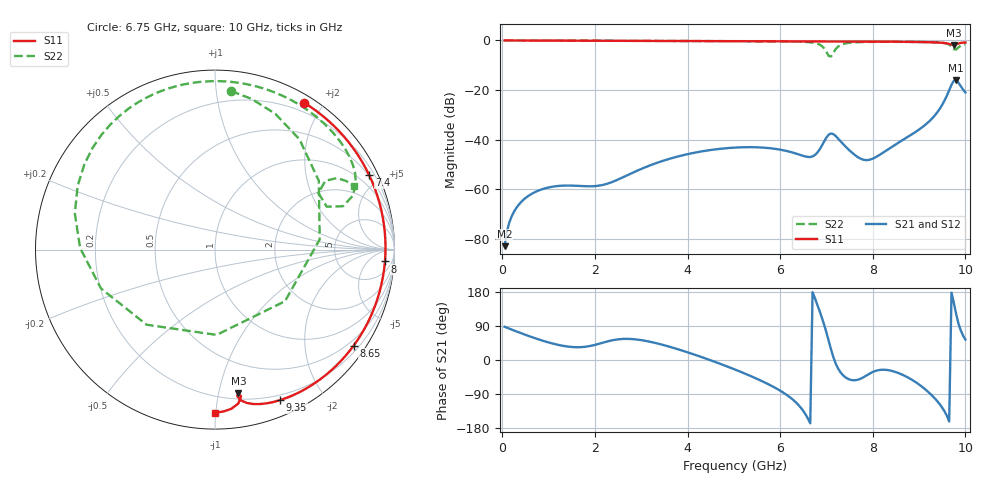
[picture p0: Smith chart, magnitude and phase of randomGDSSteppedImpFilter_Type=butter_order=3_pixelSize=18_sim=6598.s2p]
! freq	dB(S11)	phase(S11)	dB(S12)	phase(S12)
!  dB(S21)	phase(S21)	dB(S22)	phase(S22)
!S-par simulation data
#  GHz  S  DB  R 50
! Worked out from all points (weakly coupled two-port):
!   200 points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, 50 MHz to 10 GHz, reference 50 ohm
!   highest |S21| = -16.03 dB at 9.8 GHz (marker M1); lowest = -83.0 dB at 50 MHz (marker M2)
!   lowest |S11| = -1.8 dB at 9.75 GHz (marker M3), VSWR 9.47, Z = 12.4 - j57.3 ohm
!   |S11| at or under -10 dB: nowhere
!   |S22| runs from -6.5 to 0.0 dB; largest |S21 - S12| = 0
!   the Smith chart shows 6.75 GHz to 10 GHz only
!   S11 on the Smith chart (normalised r, x): 6.75 GHz: 0.09, +1.77; 7.4 GHz: 0.47, +4.32; 8 GHz: 14, -18; 8.65 GHz: 0.35, -3.16; 9.35 GHz: 0.15, -1.51; 10 GHz: 0.10, -1.00
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0.05  -0.00 -2.4  -83.00 87.6  -83.00 87.6  -0.00 -2.5
0.25  -0.02 -11.9  -69.17 78.0  -69.17 78.0  -0.02 -12.3
0.55  -0.03 -26.0  -62.90 64.2  -62.90 64.2  -0.03 -26.8
1.75  -0.10 -80.4  -58.78 34.4  -58.78 34.4  -0.09 -80.6
3.4  -0.18 -149.3  -48.99 42.1  -48.99 42.1  -0.15 -140.6
4.25  -0.23 175.5  -44.94 10.0  -44.94 10.0  -0.19 -167.4
5.05  -0.28 140.8  -43.20 -26.4  -43.20 -26.4  -0.23 167.7
6.1  -0.35 91.4  -44.42 -88.6  -44.42 -88.6  -0.36 130.3
6.7  -0.38 61.3  -46.79 178.9  -46.79 178.9  -0.86 90.8
6.75  -0.38 58.8  -46.24 163.4  -46.24 163.4  -1.03 84.3
6.9  -0.39 51.1  -42.46 111.9  -42.46 111.9  -2.23 52.5
7  -0.39 46.1  -39.15 72.4  -39.15 72.4  -4.64 5.6
7.1  -0.40 41.0  -37.52 27.5  -37.52 27.5  -6.46 -88.9
7.2  -0.40 35.9  -38.57 -9.4  -38.57 -9.4  -3.46 -161.2
7.4  -0.41 25.8  -42.59 -44.8  -42.59 -44.8  -1.22 146.9
8  -0.45 -4.0  -47.69 -31.7  -47.69 -31.7  -0.57 100.8
8.35  -0.49 -20.8  -43.67 -27.1  -43.67 -27.1  -0.55 84.3
8.65  -0.54 -34.8  -40.13 -39.4  -40.13 -39.4  -0.56 71.2
9.35  -0.78 -66.7  -30.01 -102.7  -30.01 -102.7  -0.72 39.8
9.75  -1.84 -80.7  -16.27 151.1  -16.27 151.1  -3.52 21.0
9.8  -1.61 -79.9  -16.03 121.5  -16.03 121.5  -3.65 28.7
10  -0.84 -89.8  -20.99 53.9  -20.99 53.9  -1.42 24.6
